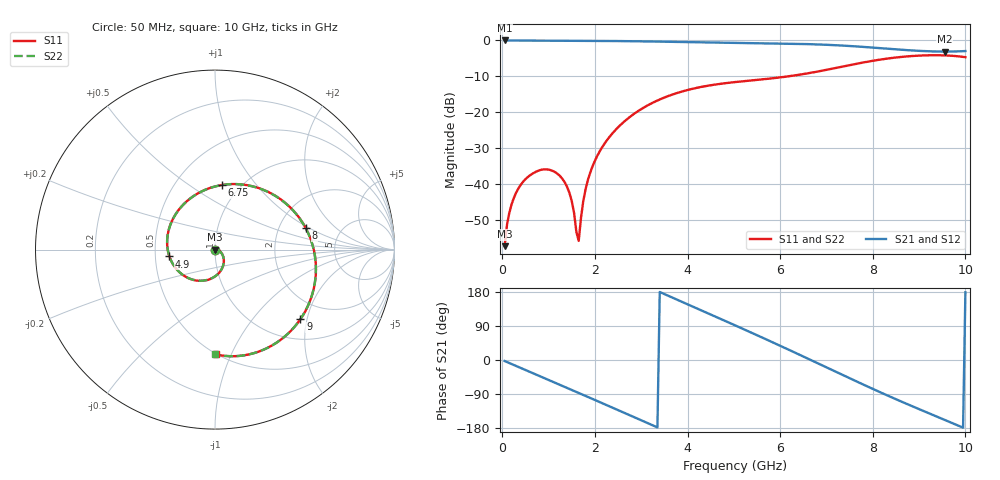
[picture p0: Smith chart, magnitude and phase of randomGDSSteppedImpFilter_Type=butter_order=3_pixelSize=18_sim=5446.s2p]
! freq	dB(S11)	phase(S11)	dB(S12)	phase(S12)
!  dB(S21)	phase(S21)	dB(S22)	phase(S22)
!S-par simulation data
#  GHz  S  DB  R 50
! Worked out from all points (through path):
!   200 points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, 50 MHz to 10 GHz, reference 50 ohm
!   highest |S21| = 0.00 dB at 50 MHz (marker M1); lowest = -3.1 dB at 9.55 GHz (marker M2)
!   group delay of S21, straight-line fit = 152 ps
!   lowest |S11| = -57.4 dB at 50 MHz (marker M3), VSWR 1.00, Z = 50 - j0.128 ohm
!   |S11| at or under -10 dB: start of sweep to 6.189 GHz
!   |S22| runs from -57.4 to -4.1 dB; largest |S21 - S12| = 0
!   S11 on the Smith chart (normalised r, x): 50 MHz: 1.00, -0.00; 4.9 GHz: 0.59, -0.05; 6.75 GHz: 0.82, +0.68; 8 GHz: 2.83, +0.92; 9 GHz: 1.46, -1.82; 10 GHz: 0.49, -0.88
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0.05  -57.44 -71.5  -0.00 -2.7  -0.00 -2.7  -57.44 -71.5
0.25  -43.94 -99.0  -0.02 -13.2  -0.02 -13.2  -43.94 -99.0
0.7  -36.84 -127.5  -0.05 -36.9  -0.05 -36.9  -36.84 -127.3
1.35  -39.65 -166.6  -0.08 -71.1  -0.08 -71.1  -39.66 -165.5
1.5  -44.82 178.9  -0.09 -79.0  -0.09 -79.0  -44.88 -178.8
1.65  -55.96 71.6  -0.10 -86.9  -0.10 -86.9  -57.41 68.3
1.75  -44.72 12.5  -0.11 -92.2  -0.11 -92.2  -44.84 9.5
1.95  -35.10 -7.7  -0.12 -102.8  -0.12 -102.8  -35.12 -8.9
2.3  -27.17 -29.4  -0.15 -121.5  -0.15 -121.5  -27.18 -30.1
3.4  -16.48 -90.1  -0.33 179.4  -0.33 179.4  -16.48 -90.4
4.05  -13.68 -125.3  -0.48 144.4  -0.48 144.4  -13.68 -125.6
4.9  -11.80 -171.4  -0.65 98.4  -0.65 98.4  -11.80 -171.8
5.05  -11.59 -179.7  -0.68 90.2  -0.68 90.2  -11.59 180.0
6  -10.32 127.2  -0.85 37.6  -0.85 37.6  -10.32 126.7
6.7  -8.94 86.8  -1.07 -2.2  -1.07 -2.2  -8.94 86.4
6.75  -8.83 83.9  -1.09 -5.1  -1.09 -5.1  -8.83 83.6
7.45  -7.02 43.9  -1.51 -45.2  -1.51 -45.2  -7.02 43.5
8  -5.68 13.2  -1.99 -76.3  -1.99 -76.3  -5.68 12.9
8.35  -5.00 -5.7  -2.34 -95.4  -2.34 -95.4  -5.00 -6.0
9  -4.24 -39.2  -2.91 -129.6  -2.91 -129.6  -4.24 -39.5
9.55  -4.17 -66.7  -3.11 -157.7  -3.11 -157.7  -4.18 -66.9
10  -4.68 -89.6  -2.96 178.8  -2.96 178.8  -4.68 -90.0
